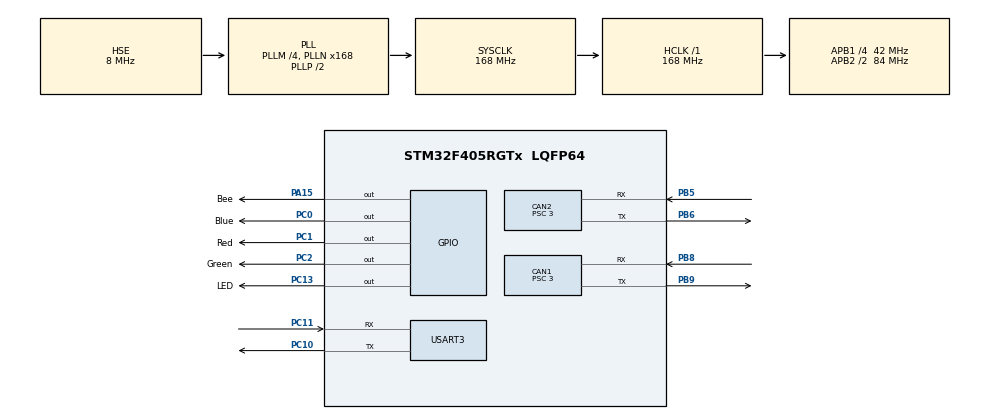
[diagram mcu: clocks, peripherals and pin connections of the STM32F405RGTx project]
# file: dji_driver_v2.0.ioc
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CAN1.ABOM=ENABLE
CAN1.BS1=CAN_BS1_9TQ
CAN1.BS2=CAN_BS2_4TQ
CAN1.CalculateBaudRate=1000000
CAN1.CalculateTimeBit=1000
CAN1.CalculateTimeQuantum=71.42857142857143
CAN1.Prescaler=3
CAN1.TXFP=ENABLE
CAN2.ABOM=ENABLE
CAN2.BS1=CAN_BS1_9TQ
CAN2.BS2=CAN_BS2_4TQ
CAN2.CalculateBaudRate=1000000
CAN2.CalculateTimeBit=1000
CAN2.CalculateTimeQuantum=71.42857142857143
CAN2.Mode=CAN_MODE_NORMAL
CAN2.Prescaler=3
CAN2.TXFP=ENABLE
Dma.Request0=USART3_RX
Dma.Request1=USART3_TX
Dma.USART3_RX.0.Direction=DMA_PERIPH_TO_MEMORY
Dma.USART3_RX.0.FIFOMode=DMA_FIFOMODE_DISABLE
Dma.USART3_RX.0.Instance=DMA1_Stream1
Dma.USART3_RX.0.MemDataAlignment=DMA_MDATAALIGN_BYTE
Dma.USART3_RX.0.MemInc=DMA_MINC_ENABLE
Dma.USART3_RX.0.Mode=DMA_CIRCULAR
Dma.USART3_RX.0.PeriphDataAlignment=DMA_PDATAALIGN_BYTE
Dma.USART3_RX.0.PeriphInc=DMA_PINC_DISABLE
Dma.USART3_RX.0.Priority=DMA_PRIORITY_LOW
Dma.USART3_TX.1.Direction=DMA_MEMORY_TO_PERIPH
Dma.USART3_TX.1.FIFOMode=DMA_FIFOMODE_DISABLE
Dma.USART3_TX.1.Instance=DMA1_Stream3
Dma.USART3_TX.1.MemDataAlignment=DMA_MDATAALIGN_BYTE
Dma.USART3_TX.1.MemInc=DMA_MINC_ENABLE
Dma.USART3_TX.1.Mode=DMA_NORMAL
Dma.USART3_TX.1.PeriphDataAlignment=DMA_PDATAALIGN_BYTE
Dma.USART3_TX.1.PeriphInc=DMA_PINC_DISABLE
Dma.USART3_TX.1.Priority=DMA_PRIORITY_LOW
FREERTOS.BinarySemaphores01=can1sendSema,Dynamic,NULL
FREERTOS.Mutexes01=motorsMutex,Dynamic,NULL
FREERTOS.Queues01=can1ReceiveQueue,8,CAN_ConnMessage,0,Dynamic,NULL,NULL;can2ReceiveQueue,8,CAN_ConnMessage,0,Dynamic,NULL,NULL;ProtectReceiveQueue,8,CAN_ConnMessage,0,Dynamic,NULL,NULL
FREERTOS.Tasks01=defaultTask,24,128,StartDefaultTask,Default,NULL,Dynamic,NULL,NULL;can1SendTask,34,128,can1SendFunc,As external,NULL,Dynamic,NULL,NULL;can1ReceiveTask,33,128,can1ReceiveFunc,As external,NULL,Dynamic,NULL,NULL;can2ReceiveTask,39,128,can2ReceiveFunc,As external,NULL,Dynamic,NULL,NULL;IwdgFeedDogTask,35,128,IwdgFeedDogFunc,Default,NULL,Dynamic,NULL,NULL
FREERTOS.configTOTAL_HEAP_SIZE=27844
FREERTOS.configUSE_NEWLIB_REENTRANT=1
FREERTOS.configUSE_POSIX_ERRNO=0
FREERTOS.configUSE_STATS_FORMATTING_FUNCTIONS=1
IWDG.Prescaler=IWDG_PRESCALER_32
IWDG.Reload=1000
Mcu.Family=STM32F4
Mcu.Name=STM32F405RGTx
Mcu.Package=LQFP64
NVIC.CAN1_RX0_IRQn=true\:5\:0\:false\:false\:true\:true\:true\:true\:true
NVIC.CAN1_RX1_IRQn=true\:5\:0\:false\:false\:true\:true\:true\:true\:true
NVIC.CAN1_TX_IRQn=true\:5\:0\:false\:false\:true\:true\:true\:true\:true
NVIC.CAN2_RX0_IRQn=true\:5\:0\:false\:false\:true\:true\:true\:true\:true
NVIC.CAN2_RX1_IRQn=true\:5\:0\:false\:false\:true\:true\:true\:true\:true
NVIC.CAN2_TX_IRQn=true\:5\:0\:false\:false\:true\:true\:true\:true\:true
NVIC.DMA1_Stream1_IRQn=true\:5\:0\:false\:false\:true\:true\:false\:true\:true
NVIC.DMA1_Stream3_IRQn=true\:5\:0\:false\:false\:true\:true\:false\:true\:true
NVIC.PriorityGroup=NVIC_PRIORITYGROUP_4
NVIC.TIM2_IRQn=true\:5\:0\:true\:false\:true\:true\:true\:true\:true
NVIC.TIM8_TRG_COM_TIM14_IRQn=true\:0\:0\:false\:false\:true\:false\:false\:true\:true
NVIC.TimeBase=TIM8_TRG_COM_TIM14_IRQn
NVIC.TimeBaseIP=TIM14
NVIC.USART3_IRQn=true\:5\:0\:false\:false\:true\:true\:true\:true\:true
PA13.Mode=Serial_Wire
PA13.Signal=SYS_JTMS-SWDIO
PA14.Mode=Serial_Wire
PA14.Signal=SYS_JTCK-SWCLK
PA15.GPIO_Label=Bee
PA15.PinState=GPIO_PIN_RESET
PA15.Signal=GPIO_Output
PB5.Mode=CAN_Activate
PB5.Signal=CAN2_RX
PB6.Mode=CAN_Activate
PB6.Signal=CAN2_TX
PB8.Mode=CAN_Activate
PB8.Signal=CAN1_RX
PB9.Mode=CAN_Activate
PB9.Signal=CAN1_TX
PC0.GPIO_Label=Blue
PC0.PinState=GPIO_PIN_SET
PC0.Signal=GPIO_Output
PC1.GPIO_Label=Red
PC1.PinState=GPIO_PIN_SET
PC1.Signal=GPIO_Output
PC10.Mode=Asynchronous
PC10.Signal=USART3_TX
PC11.Mode=Asynchronous
PC11.Signal=USART3_RX
PC13-ANTI_TAMP.GPIO_Label=LED
PC13-ANTI_TAMP.Signal=GPIO_Output
PC2.GPIO_Label=Green
PC2.PinState=GPIO_PIN_SET
PC2.Signal=GPIO_Output
PH0-OSC_IN.Mode=HSE-External-Oscillator
PH0-OSC_IN.Signal=RCC_OSC_IN
PH1-OSC_OUT.Mode=HSE-External-Oscillator
PH1-OSC_OUT.Signal=RCC_OSC_OUT
ProjectManager.HeapSize=0x1000
ProjectManager.StackSize=0x1200
ProjectManager.TargetToolchain=STM32CubeIDE
RCC.48MHZClocksFreq_Value=84000000
RCC.AHBFreq_Value=168000000
RCC.APB1CLKDivider=RCC_HCLK_DIV4
RCC.APB1Freq_Value=42000000
RCC.APB1TimFreq_Value=84000000
RCC.APB2CLKDivider=RCC_HCLK_DIV2
RCC.APB2Freq_Value=84000000
RCC.APB2TimFreq_Value=168000000
RCC.CortexFreq_Value=168000000
RCC.HCLKFreq_Value=168000000
RCC.HSE_VALUE=8000000
RCC.HSI_VALUE=16000000
RCC.LSE_VALUE=32768
RCC.PLLM=4
RCC.PLLN=168
RCC.PLLSourceVirtual=RCC_PLLSOURCE_HSE
RCC.SYSCLKFreq_VALUE=168000000
RCC.SYSCLKSource=RCC_SYSCLKSOURCE_PLLCLK
RCC.VCOOutputFreq_Value=336000000
TIM2.Period=10-1
TIM2.Prescaler=8400-1
USART3.VirtualMode=VM_ASYNC
VP_FREERTOS_VS_CMSIS_V2.Mode=CMSIS_V2
VP_IWDG_VS_IWDG.Mode=IWDG_Activate
VP_SYS_VS_tim14.Mode=TIM14
VP_TIM2_VS_ClockSourceINT.Mode=Internal
board=custom

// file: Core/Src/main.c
/* USER CODE BEGIN Header */
/**
  ******************************************************************************
  * @file           : main.c
  * @brief          : Main program body
  ******************************************************************************
  * @attention
  *
  * <h2><center>&copy; Copyright (c) 2021 STMicroelectronics.
  * All rights reserved.</center></h2>
  *
  * This software component is licensed by ST under Ultimate Liberty license
  * SLA0044, the "License"; You may not use this file except in compliance with
  * the License. You may obtain a copy of the License at:
  *                             www.st.com/SLA0044
  *
  ******************************************************************************
  */
#ifdef __cplusplus
extern "C"
{
#endif
/* USER CODE END Header */
#include "main.h"
#include "cmsis_os.h"
#include "can.h"
#include "dma.h"
#include "iwdg.h"
#include "tim.h"
#include "usart.h"
#include "gpio.h"

/* USER CODE BEGIN Includes */
#include "oslib.h"
#include "config.h"
#include "heart.h"
#ifdef __cplusplus
};
#endif
/* USER CODE END Includes */

/* USER CODE BEGIN PV */
#ifdef __cplusplus
extern "C"
{
#endif
/* USER CODE END PV */

void SystemClock_Config(void);
void MX_FREERTOS_Init(void);
/* USER CODE BEGIN PFP */
#ifdef __cplusplus
}
#endif
/* USER CODE END PFP */

/* USER CODE BEGIN 0 */
int time_1ms_cnt = 0;
int BOARDID = 0;
int N = 0;
struct BoardState boardState;
/* USER CODE END 0 */

int main(void)
{

  /* MCU Configuration--------------------------------------------------------*/

  /* Reset of all peripherals, Initializes the Flash interface and the Systick. */
  HAL_Init();

  /* Configure the system clock */
  SystemClock_Config();

  /* Initialize all configured peripherals */
  MX_GPIO_Init();
  MX_DMA_Init();
  MX_CAN1_Init();
  MX_USART3_UART_Init();
  MX_CAN2_Init();
  MX_TIM2_Init();
  MX_IWDG_Init();
  /* USER CODE BEGIN 2 */
  HAL_TIM_Base_Start_IT(&htim2);
  /* USER CODE END 2 */

  /* Init scheduler */
  osKernelInitialize();

  /* Call init function for freertos objects (in freertos.c) */
  MX_FREERTOS_Init();

  /* Start scheduler */
  osKernelStart();

  /* We should never get here as control is now taken by the scheduler */
  /* Infinite loop */
  while (1)
  {

  }
}

void SystemClock_Config(void)
{
  RCC_OscInitTypeDef RCC_OscInitStruct = {0};
  RCC_ClkInitTypeDef RCC_ClkInitStruct = {0};

  /** Configure the main internal regulator output voltage
  */
  __HAL_RCC_PWR_CLK_ENABLE();
  __HAL_PWR_VOLTAGESCALING_CONFIG(PWR_REGULATOR_VOLTAGE_SCALE1);

  /** Initializes the RCC Oscillators according to the specified parameters
  * in the RCC_OscInitTypeDef structure.
  */
  RCC_OscInitStruct.OscillatorType = RCC_OSCILLATORTYPE_LSI|RCC_OSCILLATORTYPE_HSE;
  RCC_OscInitStruct.HSEState = RCC_HSE_ON;
  RCC_OscInitStruct.LSIState = RCC_LSI_ON;
  RCC_OscInitStruct.PLL.PLLState = RCC_PLL_ON;
  RCC_OscInitStruct.PLL.PLLSource = RCC_PLLSOURCE_HSE;
  RCC_OscInitStruct.PLL.PLLM = 4;
  RCC_OscInitStruct.PLL.PLLN = 168;
  RCC_OscInitStruct.PLL.PLLP = RCC_PLLP_DIV2;
  RCC_OscInitStruct.PLL.PLLQ = 4;
  if (HAL_RCC_OscConfig(&RCC_OscInitStruct) != HAL_OK)
  {
    Error_Handler();
  }

  /** Initializes the CPU, AHB and APB buses clocks
  */
  RCC_ClkInitStruct.ClockType = RCC_CLOCKTYPE_HCLK|RCC_CLOCKTYPE_SYSCLK
                              |RCC_CLOCKTYPE_PCLK1|RCC_CLOCKTYPE_PCLK2;
  RCC_ClkInitStruct.SYSCLKSource = RCC_SYSCLKSOURCE_PLLCLK;
  RCC_ClkInitStruct.AHBCLKDivider = RCC_SYSCLK_DIV1;
  RCC_ClkInitStruct.APB1CLKDivider = RCC_HCLK_DIV4;
  RCC_ClkInitStruct.APB2CLKDivider = RCC_HCLK_DIV2;

  if (HAL_RCC_ClockConfig(&RCC_ClkInitStruct, FLASH_LATENCY_5) != HAL_OK)
  {
    Error_Handler();
  }
}

/* USER CODE BEGIN 4 */
extern osSemaphoreId_t can1sendSemaHandle;
/* USER CODE END 4 */

void HAL_TIM_PeriodElapsedCallback(TIM_HandleTypeDef *htim)
{
  /* USER CODE BEGIN Callback 0 */

  if (htim->Instance == TIM2)
  {
    // osSemaphoreRelease(can1sendSemaHandle);
    time_1ms_cnt++;
    if (time_1ms_cnt % 200 == 0)
    {
      Heart_Shine();
    }
  }

  /* USER CODE END Callback 0 */
  if (htim->Instance == TIM14) {
    HAL_IncTick();
  }
}

void Error_Handler(void)
{
  __disable_irq();
  while (1)
  {
  }
}

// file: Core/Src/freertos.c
/* USER CODE BEGIN Header */
/**
  ******************************************************************************
  * File Name          : freertos.c
  * Description        : Code for freertos applications
  ******************************************************************************
  * @attention
  *
  * <h2><center>&copy; Copyright (c) 2021 STMicroelectronics.
  * All rights reserved.</center></h2>
  *
  * This software component is licensed by ST under Ultimate Liberty license
  * SLA0044, the "License"; You may not use this file except in compliance with
  * the License. You may obtain a copy of the License at:
  *                             www.st.com/SLA0044
  *
  ******************************************************************************
  */
/* USER CODE END Header */

#include "FreeRTOS.h"
#include "task.h"
#include "main.h"
#include "cmsis_os.h"

/* USER CODE BEGIN Includes */
#include "oslib.h"
#include "iwdg.h"
#include "../user_motor/command.h"
#include "../motor_cxx/message.h"
#include "iwdg.h"
/* USER CODE END Includes */

/* Definitions for defaultTask */
osThreadId_t defaultTaskHandle;
const osThreadAttr_t defaultTask_attributes = {
  .name = "defaultTask",
  .stack_size = 128 * 4,
  .priority = (osPriority_t) osPriorityNormal,
};
/* Definitions for can1SendTask */
osThreadId_t can1SendTaskHandle;
const osThreadAttr_t can1SendTask_attributes = {
  .name = "can1SendTask",
  .stack_size = 128 * 4,
  .priority = (osPriority_t) osPriorityAboveNormal2,
};
/* Definitions for can1ReceiveTask */
osThreadId_t can1ReceiveTaskHandle;
const osThreadAttr_t can1ReceiveTask_attributes = {
  .name = "can1ReceiveTask",
  .stack_size = 128 * 4,
  .priority = (osPriority_t) osPriorityAboveNormal1,
};
/* Definitions for can2ReceiveTask */
osThreadId_t can2ReceiveTaskHandle;
const osThreadAttr_t can2ReceiveTask_attributes = {
  .name = "can2ReceiveTask",
  .stack_size = 128 * 4,
  .priority = (osPriority_t) osPriorityAboveNormal7,
};
/* Definitions for IwdgFeedDogTask */
osThreadId_t IwdgFeedDogTaskHandle;
const osThreadAttr_t IwdgFeedDogTask_attributes = {
  .name = "IwdgFeedDogTask",
  .stack_size = 128 * 4,
  .priority = (osPriority_t) osPriorityAboveNormal3,
};
/* Definitions for can1ReceiveQueue */
osMessageQueueId_t can1ReceiveQueueHandle;
const osMessageQueueAttr_t can1ReceiveQueue_attributes = {
  .name = "can1ReceiveQueue"
};
/* Definitions for can2ReceiveQueue */
osMessageQueueId_t can2ReceiveQueueHandle;
const osMessageQueueAttr_t can2ReceiveQueue_attributes = {
  .name = "can2ReceiveQueue"
};
/* Definitions for ProtectReceiveQueue */
osMessageQueueId_t ProtectReceiveQueueHandle;
const osMessageQueueAttr_t ProtectReceiveQueue_attributes = {
  .name = "ProtectReceiveQueue"
};
/* Definitions for motorsMutex */
osMutexId_t motorsMutexHandle;
const osMutexAttr_t motorsMutex_attributes = {
  .name = "motorsMutex"
};
/* Definitions for can1sendSema */
osSemaphoreId_t can1sendSemaHandle;
const osSemaphoreAttr_t can1sendSema_attributes = {
  .name = "can1sendSema"
};

/* USER CODE BEGIN FunctionPrototypes */
void DELAY_Queue_Init(){
}
/* USER CODE END FunctionPrototypes */

void StartDefaultTask(void *argument);
extern void can1SendFunc(void *argument);
extern void can1ReceiveFunc(void *argument);
extern void can2ReceiveFunc(void *argument);
void IwdgFeedDogFunc(void *argument);

void MX_FREERTOS_Init(void); /* (MISRA C 2004 rule 8.1) */

void MX_FREERTOS_Init(void) {
  /* USER CODE BEGIN Init */
  OSLIB_Init();
  /* USER CODE END Init */
  /* Create the mutex(es) */
  /* creation of motorsMutex */
  motorsMutexHandle = osMutexNew(&motorsMutex_attributes);

  /* Create the semaphores(s) */
  /* creation of can1sendSema */
  can1sendSemaHandle = osSemaphoreNew(1, 0, &can1sendSema_attributes);

  /* Create the queue(s) */
  /* creation of can1ReceiveQueue */
  can1ReceiveQueueHandle = osMessageQueueNew (8, sizeof(CAN_ConnMessage), &can1ReceiveQueue_attributes);

  /* creation of can2ReceiveQueue */
  can2ReceiveQueueHandle = osMessageQueueNew (8, sizeof(CAN_ConnMessage), &can2ReceiveQueue_attributes);

  /* creation of ProtectReceiveQueue */
  ProtectReceiveQueueHandle = osMessageQueueNew (8, sizeof(CAN_ConnMessage), &ProtectReceiveQueue_attributes);

  /* Create the thread(s) */
  /* creation of defaultTask */
  defaultTaskHandle = osThreadNew(StartDefaultTask, NULL, &defaultTask_attributes);

  /* creation of can1SendTask */
  can1SendTaskHandle = osThreadNew(can1SendFunc, NULL, &can1SendTask_attributes);

  /* creation of can1ReceiveTask */
  can1ReceiveTaskHandle = osThreadNew(can1ReceiveFunc, NULL, &can1ReceiveTask_attributes);

  /* creation of can2ReceiveTask */
  can2ReceiveTaskHandle = osThreadNew(can2ReceiveFunc, NULL, &can2ReceiveTask_attributes);

  /* creation of IwdgFeedDogTask */
  IwdgFeedDogTaskHandle = osThreadNew(IwdgFeedDogFunc, NULL, &IwdgFeedDogTask_attributes);

}

void StartDefaultTask(void *argument)
{
  /* USER CODE BEGIN StartDefaultTask */
  /* Infinite loop */
    int num = 0;
    DriverInit();
    while(1)
    {
        MotorCtrl();
        osDelay(1);
//        if(num % 100 == 0)
//            uprintf("%d %d %d %d\r\n", re_num[0], re_num[1], re_num[2], re_num[3]);
//        if(num % 100 == 0)
//            uprintf("%f %f %f %f\r\n", get_MotorState_Choose(0,CUR_Mode), get_MotorState_Choose(1,CUR_Mode), get_MotorState_Choose(2,CUR_Mode), get_MotorState_Choose(3,CUR_Mode));
    }
  /* USER CODE END StartDefaultTask */
}

void IwdgFeedDogFunc(void *argument)
{
  /* USER CODE BEGIN IwdgFeedDogFunc */
  /* Infinite loop */
    while(1){
        IWDG_ReloadCounter();
        osDelay(400);
    }
  /* USER CODE END IwdgFeedDogFunc */
}
